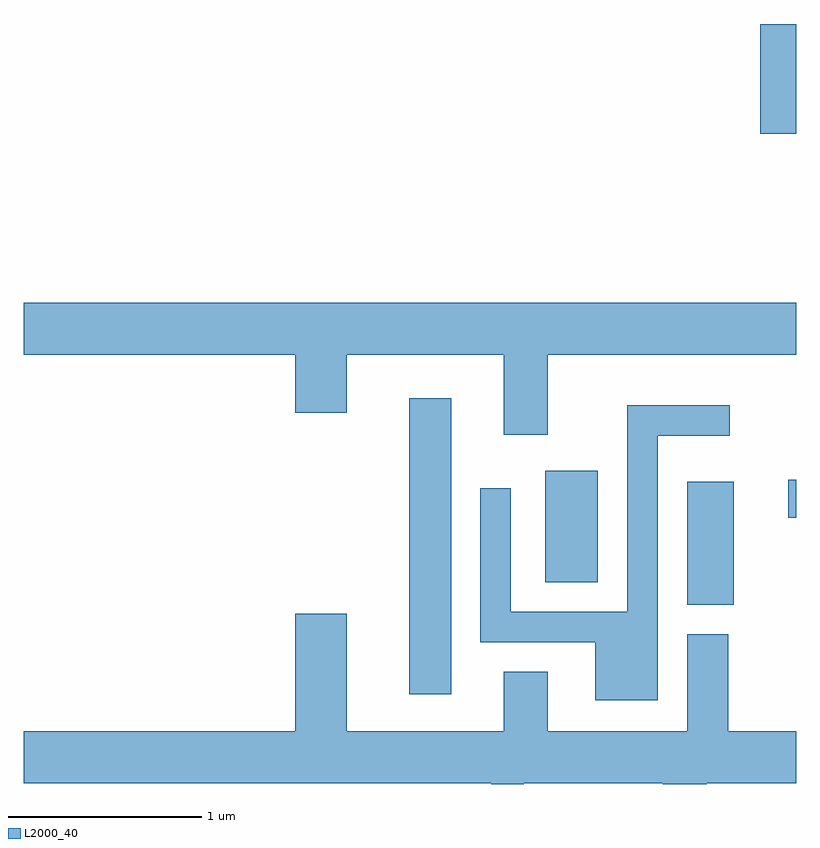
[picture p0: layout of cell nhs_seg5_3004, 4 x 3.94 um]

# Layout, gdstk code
import gdstk
lib = gdstk.Library(unit=1e-6, precision=1e-09)
def R(c, l, rs):  # rectangles x0, y0, x1, y1
    for r in rs: c.add(gdstk.rectangle(r[:2], r[2:], *l))
def P(c, l, *ps):  # polygons
    for p in ps: c.add(gdstk.Polygon(p, *l))
L2000_40 = (2000, 40)

nhs_seg5_3004 = lib.new_cell('nhs_seg5_3004')
R(nhs_seg5_3004, L2000_40, [(275.606,1510.536,275.824,1512.069), (277.046,1511.001,277.289,1511.639), (276.311,1511.116,276.584,1511.694), (277.571,1511.451,277.611,1511.649), (277.426,1513.441,277.611,1514.009)])
P(nhs_seg5_3004, L2000_40, [(276.324,1512.296),(277.611,1512.296),(277.611,1512.564),(273.611,1512.564),(273.611,1512.296),(275.016,1512.296),(275.016,1511.996),(275.284,1511.996),(275.284,1512.296),(276.096,1512.296),(276.096,1511.881),(276.324,1511.881)],
  [(276.894,1511.876),(277.268,1511.876),(277.268,1512.034),(276.736,1512.034),(276.736,1510.964),(276.134,1510.964),(276.134,1511.603),(275.976,1511.603),(275.976,1510.806),(276.571,1510.806),(276.571,1510.506),(276.894,1510.506)],
  [(276.199,1510.076),(276.921,1510.076),(276.921,1510.072),(277.149,1510.072),(277.149,1510.076),(277.611,1510.076),(277.611,1510.344),(277.259,1510.344),(277.259,1510.849),(277.046,1510.849),(277.046,1510.344),(276.324,1510.344),(276.324,1510.654),(276.096,1510.654),(276.096,1510.344),(275.284,1510.344),(275.284,1510.954),(275.016,1510.954),(275.016,1510.344),(273.611,1510.344),(273.611,1510.076),(276.031,1510.076),(276.031,1510.072),(276.199,1510.072)])

lib.write_gds('nhs_seg5_3004.gds')
